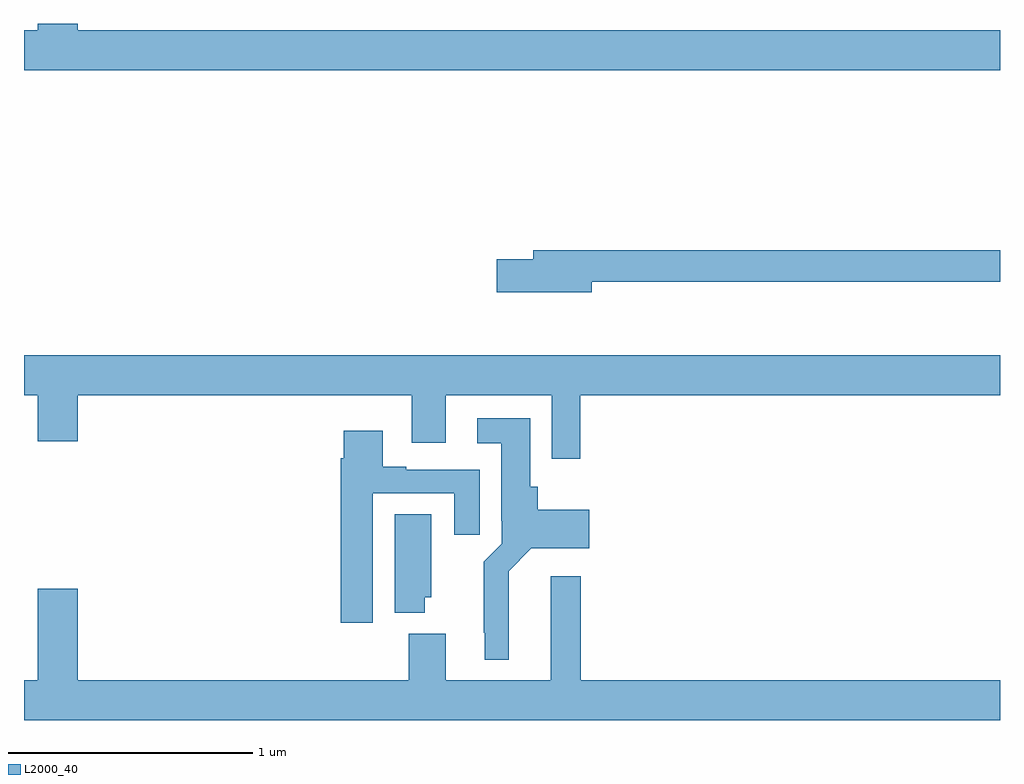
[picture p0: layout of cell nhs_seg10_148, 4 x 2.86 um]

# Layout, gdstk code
import gdstk
lib = gdstk.Library(unit=1e-6, precision=1e-09)
def P(c, l, *ps):  # polygons
    for p in ps: c.add(gdstk.Polygon(p, *l))
L2000_40 = (2000, 40)

nhs_seg10_148 = lib.new_cell('nhs_seg10_148')
P(nhs_seg10_148, L2000_40, [(121,1308.472),(117.22,1308.472),(117.22,1308.5),(117.056,1308.5),(117.056,1308.472),(117,1308.472),(117,1308.308),(121,1308.308)],
  [(119.326,1307.442),(121,1307.442),(121,1307.57),(119.087,1307.57),(119.087,1307.534),(118.938,1307.534),(118.938,1307.399),(119.326,1307.399)],
  [(119.279,1306.976),(121,1306.976),(121,1307.14),(117,1307.14),(117,1306.976),(117.056,1306.976),(117.056,1306.788),(117.22,1306.788),(117.22,1306.976),(118.589,1306.976),(118.589,1306.782),(118.729,1306.782),(118.729,1306.976),(119.163,1306.976),(119.163,1306.716),(119.279,1306.716)],
  [(118.987,1306.256),(119.079,1306.349),(119.317,1306.349),(119.317,1306.507),(119.105,1306.507),(119.105,1306.602),(119.074,1306.602),(119.074,1306.882),(118.857,1306.882),(118.857,1306.781),(118.955,1306.781),(118.955,1306.462),(118.959,1306.462),(118.959,1306.368),(118.885,1306.294),(118.885,1306.003),(118.889,1306.003),(118.889,1305.893),(118.987,1305.893)],
  [(118.429,1306.575),(118.763,1306.575),(118.763,1306.404),(118.867,1306.404),(118.867,1306.671),(118.567,1306.671),(118.567,1306.684),(118.471,1306.684),(118.471,1306.831),(118.31,1306.831),(118.31,1306.718),(118.298,1306.718),(118.298,1306.044),(118.429,1306.044)],
  [(118.642,1306.149),(118.669,1306.149),(118.669,1306.49),(118.52,1306.49),(118.52,1306.085),(118.642,1306.085)],
  [(121,1305.808),(119.282,1305.808),(119.282,1306.234),(119.159,1306.234),(119.159,1305.808),(118.729,1305.808),(118.729,1306),(118.577,1306),(118.577,1305.808),(117.22,1305.808),(117.22,1306.183),(117.056,1306.183),(117.056,1305.808),(117,1305.808),(117,1305.644),(121,1305.644)])

lib.write_gds('nhs_seg10_148.gds')
